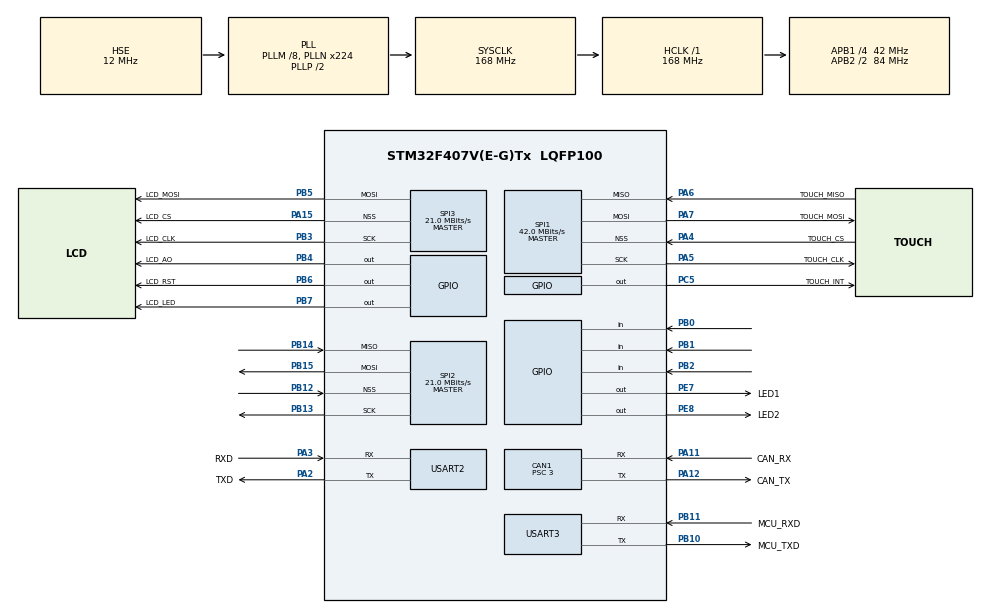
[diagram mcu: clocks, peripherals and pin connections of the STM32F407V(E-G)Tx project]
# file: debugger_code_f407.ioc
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CAN1.BS1=CAN_BS1_12TQ
CAN1.CalculateBaudRate=1000000
CAN1.CalculateTimeBit=1000
CAN1.CalculateTimeQuantum=71.42857142857143
CAN1.Prescaler=3
Dma.Request0=SPI3_TX
Dma.SPI3_TX.0.Direction=DMA_MEMORY_TO_PERIPH
Dma.SPI3_TX.0.FIFOMode=DMA_FIFOMODE_DISABLE
Dma.SPI3_TX.0.Instance=DMA1_Stream5
Dma.SPI3_TX.0.MemDataAlignment=DMA_MDATAALIGN_BYTE
Dma.SPI3_TX.0.MemInc=DMA_MINC_ENABLE
Dma.SPI3_TX.0.Mode=DMA_NORMAL
Dma.SPI3_TX.0.PeriphDataAlignment=DMA_PDATAALIGN_BYTE
Dma.SPI3_TX.0.PeriphInc=DMA_PINC_DISABLE
Dma.SPI3_TX.0.Priority=DMA_PRIORITY_LOW
FREERTOS.Tasks01=defaultTask,0,128,StartDefaultTask,Default,NULL,Dynamic,NULL,NULL
FREERTOS.configUSE_NEWLIB_REENTRANT=1
Mcu.Family=STM32F4
Mcu.Name=STM32F407V(E-G)Tx
Mcu.Package=LQFP100
NVIC.CAN1_RX0_IRQn=true\:5\:0\:false\:false\:true\:true\:true\:true\:true
NVIC.DMA1_Stream5_IRQn=true\:5\:0\:false\:false\:true\:true\:false\:true\:true
NVIC.PriorityGroup=NVIC_PRIORITYGROUP_4
NVIC.TIM6_DAC_IRQn=true\:15\:0\:false\:false\:true\:false\:false\:true\:true
NVIC.TIM7_IRQn=true\:5\:0\:false\:false\:true\:true\:true\:true\:true
NVIC.TimeBase=TIM6_DAC_IRQn
NVIC.TimeBaseIP=TIM6
PA11.GPIO_Label=CAN_RX
PA11.Mode=CAN_Activate
PA11.Signal=CAN1_RX
PA12.GPIO_Label=CAN_TX
PA12.Mode=CAN_Activate
PA12.Signal=CAN1_TX
PA13.Mode=Serial_Wire
PA13.Signal=SYS_JTMS-SWDIO
PA14.Mode=Serial_Wire
PA14.Signal=SYS_JTCK-SWCLK
PA15.GPIO_Label=LCD_CS
PA15.Mode=NSS_Signal_Hard_Output
PA15.Signal=SPI3_NSS
PA2.GPIO_Label=TXD
PA2.Mode=Asynchronous
PA2.Signal=USART2_TX
PA3.GPIO_Label=RXD
PA3.Mode=Asynchronous
PA3.Signal=USART2_RX
PA4.GPIO_Label=TOUCH_CS
PA4.Mode=NSS_Signal_Hard_Input
PA4.Signal=SPI1_NSS
PA5.GPIO_Label=TOUCH_CLK
PA5.Mode=Full_Duplex_Master
PA5.Signal=SPI1_SCK
PA6.GPIO_Label=TOUCH_MISO
PA6.Mode=Full_Duplex_Master
PA6.Signal=SPI1_MISO
PA7.GPIO_Label=TOUCH_MOSI
PA7.Mode=Full_Duplex_Master
PA7.Signal=SPI1_MOSI
PB0.Signal=GPIO_Input
PB1.Signal=GPIO_Input
PB10.GPIO_Label=MCU_TXD
PB10.Mode=Asynchronous
PB10.Signal=USART3_TX
PB11.GPIO_Label=MCU_RXD
PB11.Mode=Asynchronous
PB11.Signal=USART3_RX
PB12.Mode=NSS_Signal_Hard_Input
PB12.Signal=SPI2_NSS
PB13.Mode=Full_Duplex_Master
PB13.Signal=SPI2_SCK
PB14.Mode=Full_Duplex_Master
PB14.Signal=SPI2_MISO
PB15.Mode=Full_Duplex_Master
PB15.Signal=SPI2_MOSI
PB2.Signal=GPIO_Input
PB3.GPIO_Label=LCD_CLK
PB3.Mode=TX_Only_Simplex_Unidirect_Master
PB3.Signal=SPI3_SCK
PB4.GPIO_Label=LCD_AO
PB4.Signal=GPIO_Output
PB5.GPIO_Label=LCD_MOSI
PB5.Mode=TX_Only_Simplex_Unidirect_Master
PB5.Signal=SPI3_MOSI
PB6.GPIO_Label=LCD_RST
PB6.Signal=GPIO_Output
PB7.GPIO_Label=LCD_LED
PB7.Signal=GPIO_Output
PC5.GPIO_Label=TOUCH_INT
PC5.Signal=GPIO_Output
PE7.GPIO_Label=LED1
PE7.Signal=GPIO_Output
PE8.GPIO_Label=LED2
PE8.Signal=GPIO_Output
PH0-OSC_IN.Mode=HSE-External-Oscillator
PH0-OSC_IN.Signal=RCC_OSC_IN
PH1-OSC_OUT.Mode=HSE-External-Oscillator
PH1-OSC_OUT.Signal=RCC_OSC_OUT
ProjectManager.HeapSize=0x200
ProjectManager.StackSize=0x400
ProjectManager.TargetToolchain=STM32CubeIDE
RCC.48MHZClocksFreq_Value=84000000
RCC.AHBFreq_Value=168000000
RCC.APB1CLKDivider=RCC_HCLK_DIV4
RCC.APB1Freq_Value=42000000
RCC.APB1TimFreq_Value=84000000
RCC.APB2CLKDivider=RCC_HCLK_DIV2
RCC.APB2Freq_Value=84000000
RCC.APB2TimFreq_Value=168000000
RCC.CSICalibrationValue=16
RCC.CortexFreq_Value=168000000
RCC.HCLKFreq_Value=168000000
RCC.HSE_VALUE=12000000
RCC.HSI_VALUE=16000000
RCC.LSE_VALUE=32768
RCC.PLL1_VCI_Range=RCC_PLL1VCIRANGE_3
RCC.PLL1_VCO_SEL=RCC_PLL1VCOWIDE
RCC.PLL2FRACN=0
RCC.PLL2_VCI_Range=RCC_PLL2VCIRANGE_3
RCC.PLL2_VCO_SEL=RCC_PLL2VCOWIDE
RCC.PLL3FRACN=0
RCC.PLL3_VCI_Range=RCC_PLL3VCIRANGE_3
RCC.PLL3_VCO_SEL=RCC_PLL3VCOWIDE
RCC.PLLFRACN=0
RCC.PLLM=8
RCC.PLLN=224
RCC.PLLSourceVirtual=RCC_PLLSOURCE_HSE
RCC.ProductRev=revY
RCC.SYSCLKFreq_VALUE=168000000
RCC.SYSCLKSource=RCC_SYSCLKSOURCE_PLLCLK
RCC.VCOOutputFreq_Value=336000000
SPI1.BaudRatePrescaler=SPI_BAUDRATEPRESCALER_2
SPI1.CalculateBaudRate=42.0 MBits/s
SPI1.Direction=SPI_DIRECTION_2LINES
SPI1.Mode=SPI_MODE_MASTER
SPI1.VirtualNSS=VM_NSSHARD
SPI1.VirtualType=VM_MASTER
SPI2.BaudRatePrescaler=SPI_BAUDRATEPRESCALER_2
SPI2.CalculateBaudRate=21.0 MBits/s
SPI2.Direction=SPI_DIRECTION_2LINES
SPI2.Mode=SPI_MODE_MASTER
SPI2.VirtualNSS=VM_NSSHARD
SPI2.VirtualType=VM_MASTER
SPI3.BaudRatePrescaler=SPI_BAUDRATEPRESCALER_2
SPI3.CLKPhase=SPI_PHASE_1EDGE
SPI3.CalculateBaudRate=21.0 MBits/s
SPI3.Direction=SPI_DIRECTION_2LINES
SPI3.Mode=SPI_MODE_MASTER
SPI3.VirtualNSS=VM_NSSHARD
SPI3.VirtualType=VM_MASTER
TIM7.Period=999
TIM7.Prescaler=479
USART2.VirtualMode=VM_ASYNC
USART3.VirtualMode=VM_ASYNC
VP_FREERTOS_VS_CMSIS_V1.Mode=CMSIS_V1
VP_SYS_VS_tim6.Mode=TIM6
VP_TIM7_VS_ClockSourceINT.Mode=Enable_Timer
board=custom

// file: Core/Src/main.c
/* USER CODE BEGIN Header */
/**
  ******************************************************************************
  * @file           : main.c
  * @brief          : Main program body
  ******************************************************************************
  * @attention
  *
  * Copyright (c) 2023 STMicroelectronics.
  * All rights reserved.
  *
  * This software is licensed under terms that can be found in the LICENSE file
  * in the root directory of this software component.
  * If no LICENSE file comes with this software, it is provided AS-IS.
  *
  ******************************************************************************
  */
/* USER CODE END Header */
#include "main.h"
#include "cmsis_os.h"
#include "can.h"
#include "dma.h"
#include "spi.h"
#include "tim.h"
#include "usart.h"
#include "gpio.h"

/* USER CODE BEGIN Includes */
#include "lcd_init.h"
#include "key.h"
#include "motor.h"
#include "retarget.h"
#include "DynamicX.h"
#include "can_communication.h"
#include "BMI1088.h"
#include "test1.h"
#include "test2.h"
#include "test3.h"
#include "fifo.h"
#include "pid.h"
#include "can_data.h"
#include "led_task.h"
#include"gui_task.h"
#include "can_show_task.h"
#include "INS_task.h"

#include "motor_task.h"
/* USER CODE END Includes */

/* USER CODE BEGIN PTD */
uint8_t usart_data[8] = {0};

/* USER CODE END PTD */

void SystemClock_Config(void);

void MX_FREERTOS_Init(void);
/* USER CODE BEGIN PFP */
#define UART_TYPEC huart3
#define UART_GH huart2
/* USER CODE END PFP */

/* USER CODE BEGIN 0 */

extern uint16_t can_id[6];
extern moto_measure_t motor_measure[8];
extern fifo_s_t can_fifo_RM_motor;

/*定时器中断*/

/* USER CODE END 0 */

int main(void) {

    /* MCU Configuration--------------------------------------------------------*/

    /* Reset of all peripherals, Initializes the Flash interface and the Systick. */
    HAL_Init();

    /* Configure the system clock */
    SystemClock_Config();

    /* Initialize all configured peripherals */
    MX_GPIO_Init();
    MX_DMA_Init();
    MX_CAN1_Init();
    MX_SPI1_Init();
    MX_SPI2_Init();
    MX_SPI3_Init();
    MX_USART2_UART_Init();
    MX_USART3_UART_Init();
    MX_TIM7_Init();
    /* USER CODE BEGIN 2 */
    HAL_GPIO_WritePin(GPIOB, GPIO_PIN_7, GPIO_PIN_SET);
    /* USER CODE END 2 */

    /* Infinite loop */
    /* USER CODE BEGIN WHILE */
    HAL_TIM_Base_Start_IT(&htim7);//开启定时器的中断

    can_init();//can初始化
    can_fifo_init();

    /*串口初中断初始化*/
    HAL_UART_Receive_IT(&huart2, usart_data, 8);
    HAL_UART_Receive_IT(&huart3, usart_data, 8);
    RetargetInit(&huart2);//初始化打印的函数
    RetargetInit(&huart3);//初始化打印的函数

    BaseType_t xReturned = xTaskCreate((TaskFunction_t) gui_task,
                                       (const char *) "GUI",
                                       (configSTACK_DEPTH_TYPE) 1024,
                                       (void *) NULL,
                                       (UBaseType_t) 1,
                                       (TaskHandle_t *) NULL);
    xReturned = xTaskCreate((TaskFunction_t) can_show_task,
                            (const char *) "CanT",
                            (configSTACK_DEPTH_TYPE) 1024,
                            (void *) NULL,
                            (UBaseType_t) 1,
                            (TaskHandle_t *) NULL);
    xReturned = xTaskCreate((TaskFunction_t) INS_task,
                            (const char *) "INS",
                            (configSTACK_DEPTH_TYPE) 1024,
                            (void *) NULL,
                            (UBaseType_t) 1,
                            (TaskHandle_t *) NULL);
    //控制电机的任务，暂时不需要
//    xReturned = xTaskCreate((TaskFunction_t) motor_task,
//                            (const char *) "MO",
//                            (configSTACK_DEPTH_TYPE) 1024,
//                            (void *) NULL,
//                            (UBaseType_t) 1,
//                            (TaskHandle_t *) NULL);

    vTaskStartScheduler();

    //HAL_UART_Transmit(&huart3, "test=", 5, HAL_MAX_DELAY);

    while (1) {
        /* USER CODE END WHILE */

    }
}

void SystemClock_Config(void) {
    RCC_OscInitTypeDef RCC_OscInitStruct = {0};
    RCC_ClkInitTypeDef RCC_ClkInitStruct = {0};

    /** Configure the main internal regulator output voltage
    */
    __HAL_RCC_PWR_CLK_ENABLE();
    __HAL_PWR_VOLTAGESCALING_CONFIG(PWR_REGULATOR_VOLTAGE_SCALE1);

    /** Initializes the RCC Oscillators according to the specified parameters
    * in the RCC_OscInitTypeDef structure.
    */
    RCC_OscInitStruct.OscillatorType = RCC_OSCILLATORTYPE_HSE;
    RCC_OscInitStruct.HSEState = RCC_HSE_ON;
    RCC_OscInitStruct.PLL.PLLState = RCC_PLL_ON;
    RCC_OscInitStruct.PLL.PLLSource = RCC_PLLSOURCE_HSE;
    RCC_OscInitStruct.PLL.PLLM = 8;
    RCC_OscInitStruct.PLL.PLLN = 224;
    RCC_OscInitStruct.PLL.PLLP = RCC_PLLP_DIV2;
    RCC_OscInitStruct.PLL.PLLQ = 4;
    if (HAL_RCC_OscConfig(&RCC_OscInitStruct) != HAL_OK) {
        Error_Handler();
    }

    /** Initializes the CPU, AHB and APB buses clocks
    */
    RCC_ClkInitStruct.ClockType = RCC_CLOCKTYPE_HCLK | RCC_CLOCKTYPE_SYSCLK
                                  | RCC_CLOCKTYPE_PCLK1 | RCC_CLOCKTYPE_PCLK2;
    RCC_ClkInitStruct.SYSCLKSource = RCC_SYSCLKSOURCE_PLLCLK;
    RCC_ClkInitStruct.AHBCLKDivider = RCC_SYSCLK_DIV1;
    RCC_ClkInitStruct.APB1CLKDivider = RCC_HCLK_DIV4;
    RCC_ClkInitStruct.APB2CLKDivider = RCC_HCLK_DIV2;

    if (HAL_RCC_ClockConfig(&RCC_ClkInitStruct, FLASH_LATENCY_5) != HAL_OK) {
        Error_Handler();
    }
}

void HAL_TIM_PeriodElapsedCallback(TIM_HandleTypeDef *htim) {
    if (htim->Instance == TIM6) {
        HAL_IncTick();
    }
}

void Error_Handler(void) {
    __disable_irq();
    while (1) {
    }
}

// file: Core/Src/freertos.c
/* USER CODE BEGIN Header */
/**
  ******************************************************************************
  * File Name          : freertos.c
  * Description        : Code for freertos applications
  ******************************************************************************
  * @attention
  *
  * Copyright (c) 2023 STMicroelectronics.
  * All rights reserved.
  *
  * This software is licensed under terms that can be found in the LICENSE file
  * in the root directory of this software component.
  * If no LICENSE file comes with this software, it is provided AS-IS.
  *
  ******************************************************************************
  */
/* USER CODE END Header */

#include "FreeRTOS.h"
#include "task.h"
#include "main.h"
#include "cmsis_os.h"

osThreadId defaultTaskHandle;

void StartDefaultTask(void const * argument);

void MX_FREERTOS_Init(void); /* (MISRA C 2004 rule 8.1) */

/* GetIdleTaskMemory prototype (linked to static allocation support) */
void vApplicationGetIdleTaskMemory( StaticTask_t **ppxIdleTaskTCBBuffer, StackType_t **ppxIdleTaskStackBuffer, uint32_t *pulIdleTaskStackSize );

/* USER CODE BEGIN GET_IDLE_TASK_MEMORY */
static StaticTask_t xIdleTaskTCBBuffer;
static StackType_t xIdleStack[configMINIMAL_STACK_SIZE];

void vApplicationGetIdleTaskMemory(StaticTask_t **ppxIdleTaskTCBBuffer, StackType_t **ppxIdleTaskStackBuffer,
                                   uint32_t *pulIdleTaskStackSize) {
    *ppxIdleTaskTCBBuffer = &xIdleTaskTCBBuffer;
    *ppxIdleTaskStackBuffer = &xIdleStack[0];
    *pulIdleTaskStackSize = configMINIMAL_STACK_SIZE;
    /* place for user code */
}
/* USER CODE END GET_IDLE_TASK_MEMORY */

void MX_FREERTOS_Init(void) {

  /* Create the thread(s) */
  /* definition and creation of defaultTask */
  osThreadDef(defaultTask, StartDefaultTask, osPriorityNormal, 0, 128);
  defaultTaskHandle = osThreadCreate(osThread(defaultTask), NULL);

}

void StartDefaultTask(void const * argument)
{
  /* USER CODE BEGIN StartDefaultTask */
    /* Infinite loop */
    for (;;) {
        osDelay(1000);
    }
  /* USER CODE END StartDefaultTask */
}
